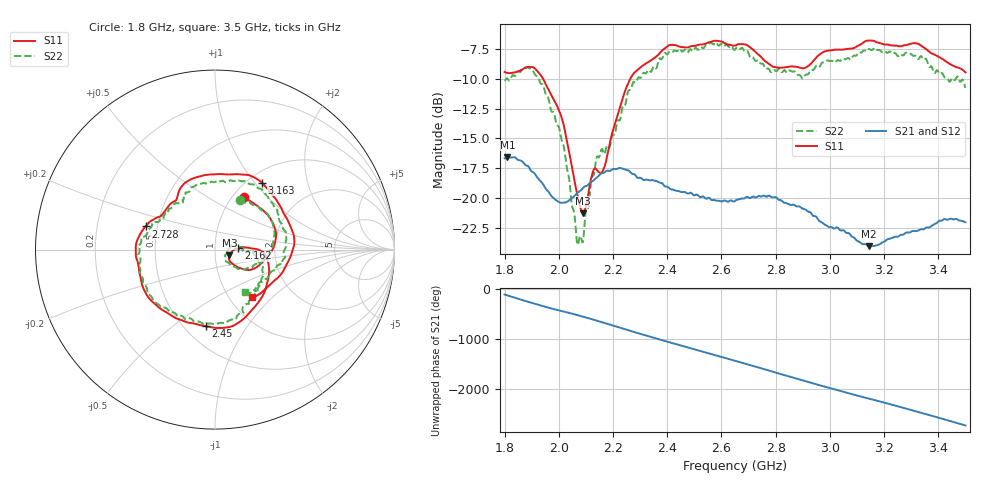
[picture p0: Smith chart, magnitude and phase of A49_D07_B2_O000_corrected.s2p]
! Created with skrf 1.9.0 (http://scikit-rf.org).
# Hz S RI R 50.0
!freq ReS11 ImS11 ReS21 ImS21 ReS12 ImS12 ReS22 ImS22
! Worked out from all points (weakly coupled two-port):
!   1601 points, 1.8 GHz to 3.5 GHz, reference 50 ohm
!   highest |S21| = -16.56 dB at 1.811 GHz (marker M1); lowest = -24.0 dB at 3.143 GHz (marker M2)
!   lowest |S11| = -21.3 dB at 2.09 GHz (marker M3), VSWR 1.19, Z = 58.6 - j3.72 ohm
!   |S11| at or under -10 dB: 1.942 GHz to 2.264 GHz (322 MHz wide, 15.3 % of centre)
!   |S22| runs from -23.9 to -6.9 dB; largest |S21 - S12| = 0.0028
!   S11 on the Smith chart (normalised r, x): 1.8 GHz: 1.13, +0.75; 2.162 GHz: 1.30, +0.02; 2.45 GHz: 0.63, -0.66; 2.728 GHz: 0.43, +0.13; 3.163 GHz: 1.15, +1.09; 3.5 GHz: 1.27, -0.76
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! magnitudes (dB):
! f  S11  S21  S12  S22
! 1.8 GHz  -9.4  -16.7  -16.7  -10.2
! 1.811 GHz  -9.5  -16.6  -16.6  -10.0
! 1.887 GHz  -9.0  -17.3  -17.4  -9.0
! 1.942 GHz  -10.0  -18.9  -18.9  -10.6
! 2.011 GHz  -13.3  -20.4  -20.4  -15.2
! 2.067 GHz  -19.5  -19.6  -19.6  -23.7
! 2.084 GHz  -21.1  -19.3  -19.3  -23.4
! 2.09 GHz  -21.3  -19.1  -19.2  -23.5
! 2.127 GHz  -17.7  -18.5  -18.5  -18.1
! 2.162 GHz  -17.7  -17.9  -17.8  -16.0
! 2.26 GHz  -10.2  -17.7  -17.7  -10.9
! 2.367 GHz  -8.0  -18.6  -18.6  -8.5
! 2.45 GHz  -7.3  -19.5  -19.5  -7.6
! 2.65 GHz  -7.2  -20.2  -20.2  -7.6
! 2.728 GHz  -7.8  -20.0  -20.0  -8.5
! 2.799 GHz  -9.0  -19.9  -19.9  -9.3
! 2.934 GHz  -8.6  -21.3  -21.3  -9.2
! 3.143 GHz  -6.8  -24.0  -23.9  -7.5
! 3.163 GHz  -6.8  -24.0  -24.0  -7.4
! 3.217 GHz  -7.1  -23.4  -23.4  -7.7
! 3.324 GHz  -7.1  -22.7  -22.7  -8.3
! 3.5 GHz  -9.5  -22.0  -22.0  -10.8
